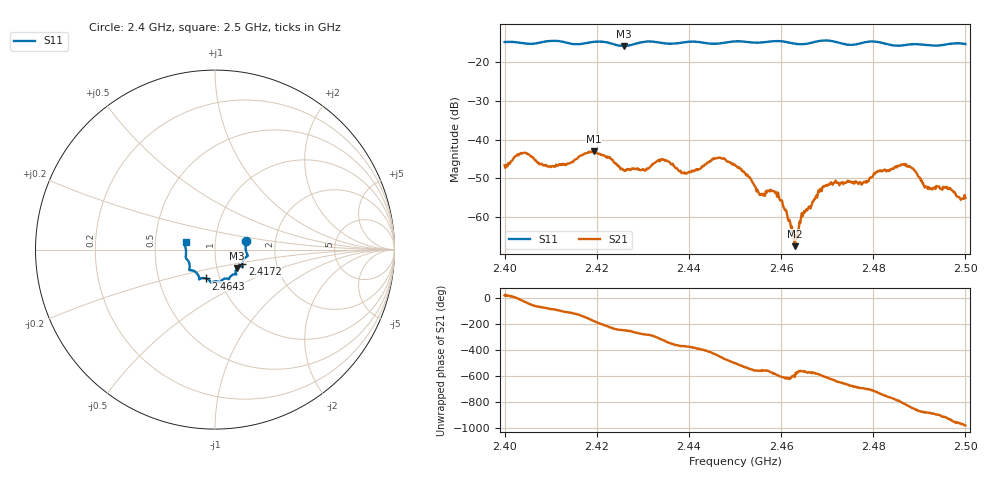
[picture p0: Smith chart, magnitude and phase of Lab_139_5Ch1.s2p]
# Hz S RI R 50
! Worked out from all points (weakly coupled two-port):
!   601 points, 2.4 GHz to 2.5 GHz, reference 50 ohm
!   highest |S21| = -43.05 dB at 2.4193 GHz (marker M1); lowest = -67.4 dB at 2.463 GHz (marker M2)
!   lowest |S11| = -15.9 dB at 2.4258 GHz (marker M3), VSWR 1.38, Z = 62.3 - j13.2 ohm
!   |S11| at or under -10 dB: start of sweep to end of sweep
!   S12 and S22 are empty: the file has one direction only
!   S11 on the Smith chart (normalised r, x): 2.4 GHz: 1.41, +0.14; 2.4172 GHz: 1.34, -0.22; 2.4643 GHz: 0.86, -0.29; 2.5 GHz: 0.72, +0.06
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2.4e9  0.1729 0.048  0.00428 0.00185  0 0  0 0
2.404e9  0.172 0.0254  0.00631 -0.00228  0 0  0 0
2.409667e9  0.1825 -0.0318  0.000828 -0.00444  0 0  0 0
2.416667e9  0.1528 -0.0742  -0.00431 -0.00457  0 0  0 0
2.417167e9  0.152 -0.08  -0.00496 -0.00413  0 0  0 0
2.419333e9  0.1528 -0.096  -0.007 -0.00078  0 0  0 0
2.425833e9  0.1217 -0.1032  -0.00174 0.00366  0 0  0 0
2.433333e9  0.1132 -0.1372  0.0031 0.00444  0 0  0 0
2.439e9  0.0802 -0.1594  0.00374 -0.000513  0 0  0 0
2.446333e9  0.0453 -0.1657  0.00088 -0.00574  0 0  0 0
2.45e9  0.029 -0.181  -0.00344 -0.00315  0 0  0 0
2.4555e9  -0.00231 -0.1772  -0.00185 0.000567  0 0  0 0
2.459e9  -0.0221 -0.1837  -0.00132 0.00149  0 0  0 0
2.463e9  -0.0365 -0.167  -0.000171 0.000389  0 0  0 0
2.464333e9  -0.0497 -0.1609  -0.000962 0.000312  0 0  0 0
2.466667e9  -0.0757 -0.1594  -0.00118 0.000864  0 0  0 0
2.4695e9  -0.0883 -0.1661  -0.00111 0.00227  0 0  0 0
2.477833e9  -0.1339 -0.115  0.00248 0.00127  0 0  0 0
2.483333e9  -0.1411 -0.0901  0.00308 -0.00257  0 0  0 0
2.487167e9  -0.1559 -0.0549  -0.000884 -0.00471  0 0  0 0
2.4915e9  -0.162 -0.0303  -0.0023 -0.000908  0 0  0 0
2.5e9  -0.164 0.0431  -0.000342 0.00173  0 0  0 0
